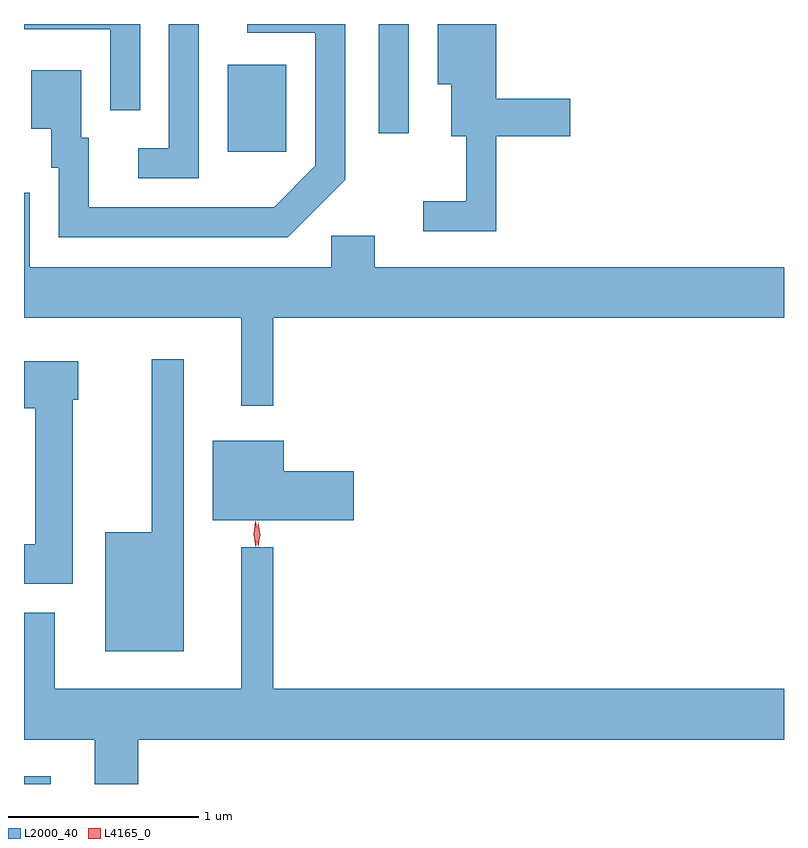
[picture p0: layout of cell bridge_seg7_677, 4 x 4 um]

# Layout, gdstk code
import gdstk
lib = gdstk.Library(unit=1e-6, precision=1e-09)
def R(c, l, rs):  # rectangles x0, y0, x1, y1
    for r in rs: c.add(gdstk.rectangle(r[:2], r[2:], *l))
def P(c, l, *ps):  # polygons
    for p in ps: c.add(gdstk.Polygon(p, *l))
L2000_40 = (2000, 40)
L4165_0 = (4165, 0)

bridge_seg7_677 = lib.new_cell('bridge_seg7_677')
R(bridge_seg7_677, L2000_40, [(964.858,1678.563,964.999,1678.604), (965.931,1681.891,966.239,1682.349), (966.726,1681.988,966.884,1682.563)])
P(bridge_seg7_677, L2000_40, [(965.779,1682.563),(965.621,1682.563),(965.621,1681.909),(965.458,1681.909),(965.458,1681.751),(965.779,1681.751)],
  [(965.469,1682.563),(964.858,1682.563),(964.858,1682.536),(965.311,1682.536),(965.311,1682.108),(965.469,1682.108)],
  [(966.549,1681.744),(966.549,1682.563),(966.033,1682.563),(966.033,1682.516),(966.391,1682.516),(966.391,1681.817),(966.174,1681.599),(965.199,1681.599),(965.199,1681.964),(965.159,1681.964),(965.159,1682.319),(964.896,1682.319),(964.896,1682.011),(965.001,1682.011),(965.001,1681.806),(965.041,1681.806),(965.041,1681.441),(966.247,1681.441)],
  [(967.344,1681.971),(967.734,1681.971),(967.734,1682.169),(967.344,1682.169),(967.344,1682.563),(967.036,1682.563),(967.036,1682.246),(967.106,1682.246),(967.106,1681.971),(967.186,1681.971),(967.186,1681.629),(966.958,1681.629),(966.958,1681.471),(967.344,1681.471)],
  [(966.169,1681.016),(968.858,1681.016),(968.858,1681.284),(966.704,1681.284),(966.704,1681.449),(966.476,1681.449),(966.476,1681.284),(964.889,1681.284),(964.889,1681.674),(964.858,1681.674),(964.858,1681.016),(966.001,1681.016),(966.001,1680.553),(966.169,1680.553)],
  [(965.699,1680.798),(965.531,1680.798),(965.531,1679.889),(965.286,1679.889),(965.286,1679.261),(965.699,1679.261)],
  [(965.114,1680.586),(965.144,1680.586),(965.144,1680.789),(964.858,1680.789),(964.858,1680.541),(964.916,1680.541),(964.916,1679.824),(964.858,1679.824),(964.858,1679.616),(965.114,1679.616)],
  [(966.594,1680.209),(966.224,1680.209),(966.224,1680.369),(965.851,1680.369),(965.851,1679.951),(966.594,1679.951)],
  [(965.459,1678.796),(968.858,1678.796),(968.858,1679.064),(966.169,1679.064),(966.169,1679.808),(966.001,1679.808),(966.001,1679.064),(965.019,1679.064),(965.019,1679.464),(964.858,1679.464),(964.858,1678.796),(965.231,1678.796),(965.231,1678.563),(965.459,1678.563)])
P(bridge_seg7_677, L4165_0, [(966.078,1679.809),(966.078,1679.81),(966.068,1679.877),(966.076,1679.945),(966.077,1679.946),(966.077,1679.945),(966.087,1679.878),(966.079,1679.81)],
  [(966.091,1679.813),(966.091,1679.813),(966.081,1679.876),(966.09,1679.939),(966.091,1679.94),(966.091,1679.939),(966.101,1679.876),(966.092,1679.813)])

lib.write_gds('bridge_seg7_677.gds')
